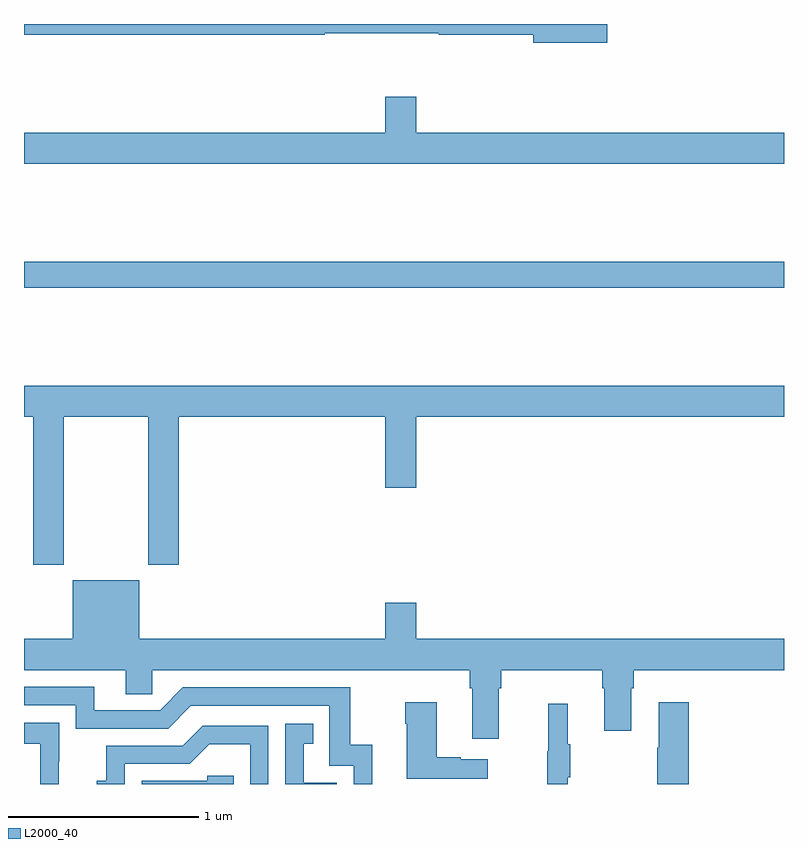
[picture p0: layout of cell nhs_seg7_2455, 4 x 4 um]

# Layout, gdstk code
import gdstk
lib = gdstk.Library(unit=1e-6, precision=1e-09)
def R(c, l, rs):  # rectangles x0, y0, x1, y1
    for r in rs: c.add(gdstk.rectangle(r[:2], r[2:], *l))
def P(c, l, *ps):  # polygons
    for p in ps: c.add(gdstk.Polygon(p, *l))
L2000_40 = (2000, 40)

nhs_seg7_2455 = lib.new_cell('nhs_seg7_2455')
R(nhs_seg7_2455, L2000_40, [(271,1018.612,275,1018.748)])
P(nhs_seg7_2455, L2000_40, [(274.069,1020),(271,1020),(271,1019.944),(272.584,1019.944),(272.584,1019.952),(273.184,1019.952),(273.184,1019.944),(273.68,1019.944),(273.68,1019.902),(274.069,1019.902)],
  [(275,1019.428),(273.064,1019.428),(273.064,1019.617),(272.9,1019.617),(272.9,1019.428),(271,1019.428),(271,1019.264),(275,1019.264)],
  [(271.209,1017.932),(271.654,1017.932),(271.654,1017.153),(271.814,1017.153),(271.814,1017.932),(272.9,1017.932),(272.9,1017.558),(273.064,1017.558),(273.064,1017.932),(275,1017.932),(275,1018.096),(271,1018.096),(271,1017.932),(271.049,1017.932),(271.049,1017.153),(271.209,1017.153)],
  [(273.499,1016.504),(273.512,1016.504),(273.512,1016.6),(274.043,1016.6),(274.043,1016.504),(274.055,1016.504),(274.055,1016.28),(274.195,1016.28),(274.195,1016.504),(274.208,1016.504),(274.208,1016.6),(275,1016.6),(275,1016.764),(273.064,1016.764),(273.064,1016.953),(272.9,1016.953),(272.9,1016.764),(271.606,1016.764),(271.606,1017.073),(271.256,1017.073),(271.256,1016.764),(271,1016.764),(271,1016.6),(271.535,1016.6),(271.535,1016.473),(271.674,1016.473),(271.674,1016.6),(273.347,1016.6),(273.347,1016.504),(273.359,1016.504),(273.359,1016.238),(273.499,1016.238)],
  [(272.834,1016.206),(272.716,1016.206),(272.716,1016.508),(271.836,1016.508),(271.716,1016.388),(271.369,1016.388),(271.369,1016.511),(271,1016.511),(271,1016.415),(271.272,1016.415),(271.272,1016.292),(271.758,1016.292),(271.878,1016.412),(272.607,1016.412),(272.607,1016.097),(272.736,1016.097),(272.736,1016),(272.834,1016)],
  [(273.442,1016.131),(273.299,1016.131),(273.299,1016.141),(273.172,1016.141),(273.172,1016.431),(273.007,1016.431),(273.007,1016.318),(273.014,1016.318),(273.014,1016.027),(273.442,1016.027)],
  [(274.499,1016.431),(274.34,1016.431),(274.34,1016.192),(274.333,1016.192),(274.333,1016),(274.499,1016)],
  [(273.863,1016.035),(273.874,1016.035),(273.874,1016.209),(273.863,1016.209),(273.863,1016.422),(273.76,1016.422),(273.76,1016.172),(273.753,1016.172),(273.753,1016),(273.863,1016)],
  [(271.184,1016.117),(271.185,1016.117),(271.185,1016.323),(271,1016.323),(271,1016.213),(271.085,1016.213),(271.085,1016),(271.184,1016)],
  [(272.646,1016.007),(272.473,1016.007),(272.473,1016.211),(272.522,1016.211),(272.522,1016.317),(272.376,1016.317),(272.376,1016),(272.646,1016)],
  [(271.53,1016.106),(271.872,1016.106),(271.976,1016.21),(272.19,1016.21),(272.19,1016),(272.286,1016),(272.286,1016.307),(271.94,1016.307),(271.835,1016.202),(271.432,1016.202),(271.432,1016.017),(271.383,1016.017),(271.383,1016),(271.53,1016)],
  [(272.105,1016.043),(271.965,1016.043),(271.965,1016.016),(271.62,1016.016),(271.62,1016),(272.105,1016)])

lib.write_gds('nhs_seg7_2455.gds')
